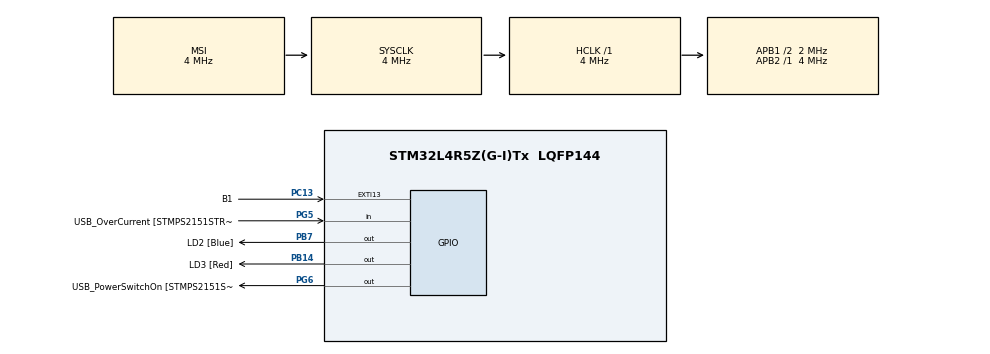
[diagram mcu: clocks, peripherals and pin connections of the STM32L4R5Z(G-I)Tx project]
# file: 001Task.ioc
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Mcu.Family=STM32L4
Mcu.Name=STM32L4R5Z(G-I)Tx
Mcu.Package=LQFP144
NVIC.PriorityGroup=NVIC_PRIORITYGROUP_4
NVIC.TIM6_DAC_IRQn=true\:15\:0\:false\:false\:true\:false\:true
NVIC.TimeBase=TIM6_DAC_IRQn
NVIC.TimeBaseIP=TIM6
PA10.GPIO_Label=USB_ID
PA10.Signal=USB_OTG_FS_ID
PA11.GPIO_Label=USB_DM
PA11.Signal=USB_OTG_FS_DM
PA12.GPIO_Label=USB_DP
PA12.Signal=USB_OTG_FS_DP
PA13\ (JTMS/SWDIO).GPIO_Label=TMS
PA13\ (JTMS/SWDIO).Mode=Trace_Asynchronous_SW
PA13\ (JTMS/SWDIO).Signal=SYS_JTMS-SWDIO
PA14\ (JTCK/SWCLK).GPIO_Label=TCK
PA14\ (JTCK/SWCLK).Mode=Trace_Asynchronous_SW
PA14\ (JTCK/SWCLK).Signal=SYS_JTCK-SWCLK
PA8.GPIO_Label=USB_SOF [TP1]
PA8.Signal=USB_OTG_FS_SOF
PA9.GPIO_Label=USB_VBUS
PA9.Signal=USB_OTG_FS_VBUS
PB14.GPIO_Label=LD3 [Red]
PB14.Signal=GPIO_Output
PB3\ (JTDO/TRACESWO).GPIO_Label=SWO
PB3\ (JTDO/TRACESWO).Mode=Trace_Asynchronous_SW
PB3\ (JTDO/TRACESWO).Signal=SYS_JTDO-SWO
PB7.GPIO_Label=LD2 [Blue]
PB7.Signal=GPIO_Output
PC13.GPIO_Label=B1
PC13.Signal=GPXTI13
PC14-OSC32_IN\ (PC14).Mode=LSE-External-Oscillator
PC14-OSC32_IN\ (PC14).Signal=RCC_OSC32_IN
PC15-OSC32_OUT\ (PC15).Mode=LSE-External-Oscillator
PC15-OSC32_OUT\ (PC15).Signal=RCC_OSC32_OUT
PD8.GPIO_Label=STLK_RX [STM32F103CBT6_PA3]
PD8.Signal=USART3_TX
PD9.GPIO_Label=STLK_TX [STM32F103CBT6_PA2]
PD9.Signal=USART3_RX
PG5.GPIO_Label=USB_OverCurrent [STMPS2151STR_FAULT]
PG5.Signal=GPIO_Input
PG6.GPIO_Label=USB_PowerSwitchOn [STMPS2151STR_En]
PG6.Signal=GPIO_Output
PG7.GPIO_Label=STLINK_TX
PG7.Signal=LPUART1_TX
PG8.GPIO_Label=STLINK_RX
PG8.Signal=LPUART1_RX
PH0-OSC_IN\ (PH0).Mode=HSE-External-Clock-Source
PH0-OSC_IN\ (PH0).Signal=RCC_OSC_IN
PH1-OSC_OUT\ (PH1).Signal=RCC_OSC_OUT
ProjectManager.HeapSize=0x200
ProjectManager.StackSize=0x400
ProjectManager.TargetToolchain=STM32CubeIDE
RCC.48MHZClocksFreq_Value=24000000
RCC.AHBFreq_Value=4000000
RCC.APB1CLKDivider=RCC_HCLK_DIV2
RCC.APB1Freq_Value=2000000
RCC.APB1TimFreq_Value=4000000
RCC.APB2Freq_Value=4000000
RCC.APB2TimFreq_Value=4000000
RCC.CortexFreq_Value=4000000
RCC.HCLKFreq_Value=4000000
RCC.HSE_VALUE=8000000
RCC.HSI48_VALUE=48000000
RCC.HSI_VALUE=16000000
RCC.MSI_VALUE=4000000
RCC.PLLMUL=RCC_PLL_MUL9
RCC.PRESCALERUSB=RCC_USBCLKSOURCE_PLL_DIV1_5
RCC.SYSCLKFreq_VALUE=4000000
RCC.SYSCLKSourceVirtual=RCC_SYSCLKSOURCE_PLLCLK
RCC.USBFreq_Value=16000000
RCC.VCOOutputFreq_Value=32000000
VP_SYS_VS_tim6.Mode=TIM6
board=NUCLEO-L4R5ZI

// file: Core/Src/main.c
/* USER CODE BEGIN Header */
/**
  ******************************************************************************
  * @file           : main.c
  * @brief          : Main program body
  ******************************************************************************
  * @attention
  *
  * Copyright (c) 2022 STMicroelectronics.
  * All rights reserved.
  *
  * This software is licensed under terms that can be found in the LICENSE file
  * in the root directory of this software component.
  * If no LICENSE file comes with this software, it is provided AS-IS.
  *
  ******************************************************************************
  */
/* USER CODE END Header */
#include "main.h"

/* USER CODE BEGIN PTD */
#include <stdio.h>
#include "FreeRTOS.h"
#include "task.h"
/* USER CODE END PTD */

/* USER CODE BEGIN PV */
#define DWT_CTRL (*(volatile uint32_t*) 0xE0001000)
/* USER CODE END PV */

void SystemClock_Config(void);
static void MX_GPIO_Init(void);
/* USER CODE BEGIN PFP */
static void task_handler(void* parameters);
/* USER CODE END PFP */

int main(void)
{
  /* USER CODE BEGIN 1 */

  TaskHandle_t task1_handle;
  TaskHandle_t task2_handle;

  BaseType_t status;
  /* USER CODE END 1 */

  /* MCU Configuration--------------------------------------------------------*/

  /* Reset of all peripherals, Initializes the Flash interface and the Systick. */
  HAL_Init();

  /* Configure the system clock */
  SystemClock_Config();

  /* Initialize all configured peripherals */
  MX_GPIO_Init();
  /* USER CODE BEGIN 2 */
  DWT_CTRL |= (1 << 0);

  SEGGER_UART_init(500000);
  SEGGER_SYSVIEW_Conf();
  SEGGER_SYSVIEW_Start();

  status = xTaskCreate(task_handler, "Task-1", 200, "Hello world from Task1",
              2, &task1_handle);
  printf("Task 1 status: %ld", status);
  configASSERT(status == pdPASS);

  status = xTaskCreate(task_handler, "Task-2", 200, "Hello world from Task2",
              2, &task2_handle);
  printf("Task 2 status: %ld", status);
  configASSERT(status == pdPASS);

  vTaskStartScheduler();
  /* USER CODE END 2 */

  /* Infinite loop */
  while (1)
  {

  }
}

void SystemClock_Config(void)
{
  RCC_OscInitTypeDef RCC_OscInitStruct = {0};
  RCC_ClkInitTypeDef RCC_ClkInitStruct = {0};

  /** Configure the main internal regulator output voltage
  */
  if (HAL_PWREx_ControlVoltageScaling(PWR_REGULATOR_VOLTAGE_SCALE1) != HAL_OK)
  {
    Error_Handler();
  }
  /** Initializes the RCC Oscillators according to the specified parameters
  * in the RCC_OscInitTypeDef structure.
  */
  RCC_OscInitStruct.OscillatorType = RCC_OSCILLATORTYPE_MSI;
  RCC_OscInitStruct.MSIState = RCC_MSI_ON;
  RCC_OscInitStruct.MSICalibrationValue = 0;
  RCC_OscInitStruct.MSIClockRange = RCC_MSIRANGE_6;
  RCC_OscInitStruct.PLL.PLLState = RCC_PLL_NONE;
  if (HAL_RCC_OscConfig(&RCC_OscInitStruct) != HAL_OK)
  {
    Error_Handler();
  }
  /** Initializes the CPU, AHB and APB buses clocks
  */
  RCC_ClkInitStruct.ClockType = RCC_CLOCKTYPE_HCLK|RCC_CLOCKTYPE_SYSCLK
                              |RCC_CLOCKTYPE_PCLK1|RCC_CLOCKTYPE_PCLK2;
  RCC_ClkInitStruct.SYSCLKSource = RCC_SYSCLKSOURCE_MSI;
  RCC_ClkInitStruct.AHBCLKDivider = RCC_SYSCLK_DIV1;
  RCC_ClkInitStruct.APB1CLKDivider = RCC_HCLK_DIV2;
  RCC_ClkInitStruct.APB2CLKDivider = RCC_HCLK_DIV1;

  if (HAL_RCC_ClockConfig(&RCC_ClkInitStruct, FLASH_LATENCY_0) != HAL_OK)
  {
    Error_Handler();
  }
}

static void MX_GPIO_Init(void)
{
  GPIO_InitTypeDef GPIO_InitStruct = {0};

  /* GPIO Ports Clock Enable */
  __HAL_RCC_GPIOC_CLK_ENABLE();
  __HAL_RCC_GPIOH_CLK_ENABLE();
  __HAL_RCC_GPIOB_CLK_ENABLE();
  __HAL_RCC_GPIOD_CLK_ENABLE();
  __HAL_RCC_GPIOG_CLK_ENABLE();
  HAL_PWREx_EnableVddIO2();
  __HAL_RCC_GPIOA_CLK_ENABLE();

  /*Configure GPIO pin Output Level */
  HAL_GPIO_WritePin(GPIOB, LD3_Pin|LD2_Pin, GPIO_PIN_RESET);

  /*Configure GPIO pin Output Level */
  HAL_GPIO_WritePin(USB_PowerSwitchOn_GPIO_Port, USB_PowerSwitchOn_Pin, GPIO_PIN_RESET);

  /*Configure GPIO pin : B1_Pin */
  GPIO_InitStruct.Pin = B1_Pin;
  GPIO_InitStruct.Mode = GPIO_MODE_IT_RISING;
  GPIO_InitStruct.Pull = GPIO_NOPULL;
  HAL_GPIO_Init(B1_GPIO_Port, &GPIO_InitStruct);

  /*Configure GPIO pins : LD3_Pin LD2_Pin */
  GPIO_InitStruct.Pin = LD3_Pin|LD2_Pin;
  GPIO_InitStruct.Mode = GPIO_MODE_OUTPUT_PP;
  GPIO_InitStruct.Pull = GPIO_NOPULL;
  GPIO_InitStruct.Speed = GPIO_SPEED_FREQ_LOW;
  HAL_GPIO_Init(GPIOB, &GPIO_InitStruct);

  /*Configure GPIO pins : STLK_RX_Pin STLK_TX_Pin */
  GPIO_InitStruct.Pin = STLK_RX_Pin|STLK_TX_Pin;
  GPIO_InitStruct.Mode = GPIO_MODE_AF_PP;
  GPIO_InitStruct.Pull = GPIO_NOPULL;
  GPIO_InitStruct.Speed = GPIO_SPEED_FREQ_VERY_HIGH;
  GPIO_InitStruct.Alternate = GPIO_AF7_USART3;
  HAL_GPIO_Init(GPIOD, &GPIO_InitStruct);

  /*Configure GPIO pin : USB_OverCurrent_Pin */
  GPIO_InitStruct.Pin = USB_OverCurrent_Pin;
  GPIO_InitStruct.Mode = GPIO_MODE_INPUT;
  GPIO_InitStruct.Pull = GPIO_NOPULL;
  HAL_GPIO_Init(USB_OverCurrent_GPIO_Port, &GPIO_InitStruct);

  /*Configure GPIO pin : USB_PowerSwitchOn_Pin */
  GPIO_InitStruct.Pin = USB_PowerSwitchOn_Pin;
  GPIO_InitStruct.Mode = GPIO_MODE_OUTPUT_PP;
  GPIO_InitStruct.Pull = GPIO_NOPULL;
  GPIO_InitStruct.Speed = GPIO_SPEED_FREQ_LOW;
  HAL_GPIO_Init(USB_PowerSwitchOn_GPIO_Port, &GPIO_InitStruct);

  /*Configure GPIO pins : STLINK_TX_Pin STLINK_RX_Pin */
  GPIO_InitStruct.Pin = STLINK_TX_Pin|STLINK_RX_Pin;
  GPIO_InitStruct.Mode = GPIO_MODE_AF_PP;
  GPIO_InitStruct.Pull = GPIO_NOPULL;
  GPIO_InitStruct.Speed = GPIO_SPEED_FREQ_VERY_HIGH;
  GPIO_InitStruct.Alternate = GPIO_AF8_LPUART1;
  HAL_GPIO_Init(GPIOG, &GPIO_InitStruct);

  /*Configure GPIO pins : USB_SOF_Pin USB_ID_Pin USB_DM_Pin USB_DP_Pin */
  GPIO_InitStruct.Pin = USB_SOF_Pin|USB_ID_Pin|USB_DM_Pin|USB_DP_Pin;
  GPIO_InitStruct.Mode = GPIO_MODE_AF_PP;
  GPIO_InitStruct.Pull = GPIO_NOPULL;
  GPIO_InitStruct.Speed = GPIO_SPEED_FREQ_VERY_HIGH;
  GPIO_InitStruct.Alternate = GPIO_AF10_OTG_FS;
  HAL_GPIO_Init(GPIOA, &GPIO_InitStruct);

  /*Configure GPIO pin : USB_VBUS_Pin */
  GPIO_InitStruct.Pin = USB_VBUS_Pin;
  GPIO_InitStruct.Mode = GPIO_MODE_INPUT;
  GPIO_InitStruct.Pull = GPIO_NOPULL;
  HAL_GPIO_Init(USB_VBUS_GPIO_Port, &GPIO_InitStruct);

}

/* USER CODE BEGIN 4 */

static void task_handler(void* parameters)
{
	for(;;)
	{
	char msg[100];
	snprintf(msg, 100, "%s\n", (char*)parameters);
	SEGGER_SYSVIEW_PrintfTarget(msg);
	}
}
/* USER CODE END 4 */

void HAL_TIM_PeriodElapsedCallback(TIM_HandleTypeDef *htim)
{
  if (htim->Instance == TIM6) {
    HAL_IncTick();
  }
}

void Error_Handler(void)
{
  __disable_irq();
  while (1)
  {
  }
}
